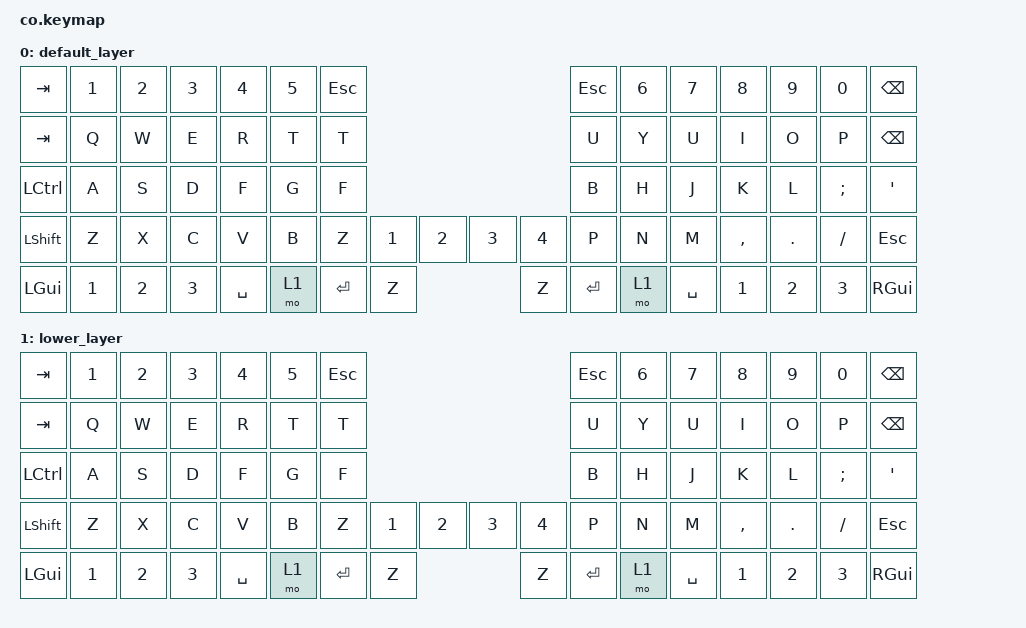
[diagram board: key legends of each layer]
/*
 * Copyright (c) 2020 The ZMK Contributors
 *
 * SPDX-License-Identifier: MIT
 */

#include <behaviors.dtsi>
#include <dt-bindings/zmk/keys.h>
#include <dt-bindings/zmk/bt.h>

/ {
        keymap {
                compatible = "zmk,keymap";

                default_layer {
// -----------------------------------------------------------------------------------------
// |  TAB |  1  |  2  |  3  |  4  |  5  |  esc|                    |esc  |  6  |  7   |  8  |  9  |  0  | BKSP |
// |  TAB |  Q  |  W  |  E  |  R  |  T  |     |                    |     |  Y  |  U   |  I  |  O  |  P  | BKSP |
// | CTRL |  A  |  S  |  D  |  F  |  G  |  cap|                    |cap  |  H  |  J   |  K  |  L  |  ;  |  '   |
// | SHFT |  Z  |  X  |  C  |  V  |  B  |  T  | T | T |    | T | T |  Y  |  N  |  M   |  ,  |  .  |  /  | ESC  |
// | SHFT |  Z  |  X  | GUI |       LWR | SPC | T |   |    |   |ENT| RSE |        M   |  ,  |  .  |  /  | ESC  |

                        bindings = <
   &kp TAB   &kp N1   &kp N2     &kp N3   &kp N4   &kp N5   &kp ESC                                        &kp ESC  &kp N6   &kp N7   &kp N8    &kp N9   &kp N0    &kp BSPC
   &kp TAB   &kp Q    &kp W      &kp E    &kp R    &kp T    &kp T                                          &kp U    &kp Y    &kp U    &kp I     &kp O    &kp P     &kp BSPC
   &kp LCTRL &kp A    &kp S      &kp D    &kp F    &kp G    &kp F                                          &kp B    &kp H    &kp J    &kp K     &kp L    &kp SEMI  &kp SQT
   &kp LSHFT &kp Z    &kp X      &kp C    &kp V    &kp B    &kp Z   &kp N1   &kp N2      &kp N3   &kp N4   &kp P    &kp N    &kp M    &kp COMMA &kp DOT  &kp FSLH  &kp ESC
   &kp LGUI  &kp N1   &kp N2     &kp N3       &kp SPACE     &mo 1   &kp RET  &kp Z       &kp Z    &kp RET  &mo 1       &kp SPACE      &kp N1    &kp N2   &kp N3    &kp RGUI  
                        >;
                };

                lower_layer {
// -----------------------------------------------------------------------------------------
// |  TAB |  1  |  2  |  3  |  4  |  5  |  esc|                    |esc  |  6  |  7   |  8  |  9  |  0  | BKSP |
// |  TAB |  Q  |  W  |  E  |  R  |  T  |     |                    |     |  Y  |  U   |  I  |  O  |  P  | BKSP |
// | CTRL |  A  |  S  |  D  |  F  |  G  |  cap|                    |cap  |  H  |  J   |  K  |  L  |  ;  |  '   |
// | SHFT |  Z  |  X  |  C  |  V  |  B  |  T  | T | T |    | T | T |  Y  |  N  |  M   |  ,  |  .  |  /  | ESC  |
// | SHFT |  Z  |  X  | GUI |       LWR | SPC | T |   |    |   |ENT| RSE |        M   |  ,  |  .  |  /  | ESC  |

                        bindings = <
   &kp TAB   &kp N1   &kp N2     &kp N3   &kp N4   &kp N5   &kp ESC                                        &kp ESC  &kp N6   &kp N7   &kp N8    &kp N9   &kp N0    &kp BSPC
   &kp TAB   &kp Q    &kp W      &kp E    &kp R    &kp T    &kp T                                          &kp U    &kp Y    &kp U    &kp I     &kp O    &kp P     &kp BSPC
   &kp LCTRL &kp A    &kp S      &kp D    &kp F    &kp G    &kp F                                          &kp B    &kp H    &kp J    &kp K     &kp L    &kp SEMI  &kp SQT
   &kp LSHFT &kp Z    &kp X      &kp C    &kp V    &kp B    &kp Z   &kp N1   &kp N2      &kp N3   &kp N4   &kp P    &kp N    &kp M    &kp COMMA &kp DOT  &kp FSLH  &kp ESC
   &kp LGUI  &kp N1   &kp N2     &kp N3       &kp SPACE     &mo 1   &kp RET  &kp Z       &kp Z    &kp RET  &mo 1       &kp SPACE      &kp N1    &kp N2   &kp N3    &kp RGUI  
                        >;
                };
                
        };
};
